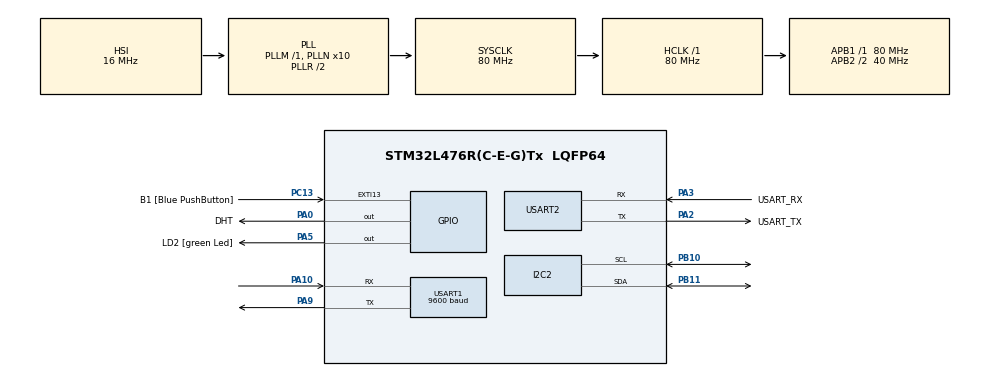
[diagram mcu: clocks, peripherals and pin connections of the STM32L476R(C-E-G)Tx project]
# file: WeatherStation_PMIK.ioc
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Mcu.Family=STM32L4
PA2.GPIO_PuPd=GPIO_NOPULL
RCC.CortexFreq_Value=80000000
PB10.Mode=I2C
PH0-OSC_IN\ (PH0).Signal=RCC_OSC_IN
USART1.BaudRate=9600
PA3.GPIO_PuPd=GPIO_NOPULL
I2C2.Timing=0x10909CEC
PA0.GPIO_Label=DHT
PA2.GPIO_Speed=GPIO_SPEED_FREQ_VERY_HIGH
PC15-OSC32_OUT\ (PC15).Mode=LSE-External-Oscillator
PC13.GPIO_Label=B1 [Blue PushButton]
PA3.GPIO_Speed=GPIO_SPEED_FREQ_VERY_HIGH
PB11.Signal=I2C2_SDA
RCC.SYSCLKSource=RCC_SYSCLKSOURCE_PLLCLK
ProjectManager.StackSize=0x400
PB3\ (JTDO-TRACESWO).Signal=SYS_JTDO-SWO
PC14-OSC32_IN\ (PC14).Mode=LSE-External-Oscillator
PA14\ (JTCK-SWCLK).Signal=SYS_JTCK-SWCLK
RCC.HCLKFreq_Value=80000000
RCC.APB2TimFreq_Value=80000000
RCC.AHBFreq_Value=80000000
RCC.PREFETCH_ENABLE=1
NVIC.EXTI15_10_IRQn=true\:0\:0\:false\:false\:true\:true\:true
RCC.HSE_VALUE=8000000
USART2.VirtualMode-Asynchronous=VM_ASYNC
PA5.GPIO_PuPd=GPIO_NOPULL
PC13.GPIO_PuPd=GPIO_NOPULL
PA0.Signal=GPIO_Output
Mcu.Package=LQFP64
PA2.GPIO_Label=USART_TX
PA10.Signal=USART1_RX
RCC.APB2CLKDivider=RCC_HCLK_DIV2
RCC.APB1TimFreq_Value=80000000
TIM16.Prescaler=7999
PA13\ (JTMS-SWDIO).Signal=SYS_JTMS-SWDIO
NVIC.USART1_IRQn=true\:0\:0\:false\:false\:true\:true\:true
PA0.GPIO_ModeDefaultOutputPP=GPIO_MODE_OUTPUT_PP
PA3.Signal=USART2_RX
PA2.GPIO_Mode=GPIO_MODE_AF_PP
RCC.MSI_VALUE=4000000
RCC.PLLSourceVirtual=RCC_PLLSOURCE_HSI
PA14\ (JTCK-SWCLK).Mode=Serial_Wire
PA10.Mode=Asynchronous
PC13.Signal=GPXTI13
PC15-OSC32_OUT\ (PC15).Signal=RCC_OSC32_OUT
VP_TIM16_VS_ClockSourceINT.Mode=Enable_Timer
PA14\ (JTCK-SWCLK).GPIO_Label=TCK
PB3\ (JTDO-TRACESWO).GPIO_Label=SWO
PH1-OSC_OUT\ (PH1).Signal=RCC_OSC_OUT
USART1.VirtualMode-Asynchronous=VM_ASYNC
PA3.Mode=Asynchronous
PA9.Mode=Asynchronous
PB11.Mode=I2C
ProjectManager.TargetToolchain=STM32CubeIDE
PA3.GPIO_Mode=GPIO_MODE_AF_PP
PA9.Signal=USART1_TX
RCC.USBFreq_Value=64000000
PB10.Signal=I2C2_SCL
PA5.Signal=GPIO_Output
board=NUCLEO-L476RG
RCC.VCOOutputFreq_Value=160000000
TIM16.Period=39999
RCC.APB2Freq_Value=40000000
TIM16.ClockDivision=TIM_CLOCKDIVISION_DIV4
PA5.GPIO_ModeDefaultOutputPP=GPIO_MODE_OUTPUT_PP
PA13\ (JTMS-SWDIO).GPIO_Label=TMS
RCC.ADCFreq_Value=64000000
Mcu.Name=STM32L476R(C-E-G)Tx
PA2.Signal=USART2_TX
PA13\ (JTMS-SWDIO).Mode=Serial_Wire
RCC.SYSCLKFreq_VALUE=80000000
PA5.GPIO_Label=LD2 [green Led]
PC13.GPIO_ModeDefaultEXTI=GPIO_MODE_IT_FALLING
PC14-OSC32_IN\ (PC14).Signal=RCC_OSC32_IN
ProjectManager.HeapSize=0x200
RCC.HSI_VALUE=16000000
NVIC.TIM1_UP_TIM16_IRQn=true\:0\:0\:false\:false\:true\:true\:true
PA5.GPIO_Speed=GPIO_SPEED_FREQ_LOW
NVIC.PriorityGroup=NVIC_PRIORITYGROUP_4
RCC.PLLN=10
PA2.Mode=Asynchronous
RCC.APB1Freq_Value=80000000
PA3.GPIO_Label=USART_RX

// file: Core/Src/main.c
/* USER CODE BEGIN Header */
/**
  ******************************************************************************
  * @file            main.c
  * @brief           Main program body
  ******************************************************************************
  * @attention
  *
  * <h2><center>&copy; Copyright (c) 2021 STMicroelectronics.
  * All rights reserved.</center></h2>
  *
  * This software component is licensed by ST under BSD 3-Clause license,
  * the "License"; You may not use this file except in compliance with the
  * License. You may obtain a copy of the License at:
  *                        opensource.org/licenses/BSD-3-Clause
  *
  ******************************************************************************
  */
/* USER CODE END Header */
#include "main.h"
#include "i2c.h"
#include "tim.h"
#include "usart.h"
#include "gpio.h"

/* USER CODE BEGIN Includes */
#include "sensors.h"
#include "DHT.h"
#include "stm32l4xx.h"
#include "bmp180.h"
#include "lcd_i2c.h"
#include <stdbool.h>
#include <stdio.h>
#include "Bluetooth.h"
#include "DispParam.h"
/* USER CODE END Includes */

/* USER CODE BEGIN PV */

DHT_DataTypedef DHT_Data;	// Struktura przechowująca dane z czujnika DHT
double pressure;			// Zmienna przechowująca zmierzone ciśnienie
struct lcd_disp disp;		// Struktura przechowująca dane konfiguracyjne wyświetlacza
/* USER CODE END PV */

void SystemClock_Config(void);
/* USER CODE BEGIN PFP */
void HAL_TIM_PeriodElapsedCallback(TIM_HandleTypeDef *htim);

int ReadDataFlag = 0; 	// Flaga służąca do pobrania danych z czujnika BMP i wyświetlenia danych na LCD
						// w momencie obsługi przerwania timera16 i pobrania danych z czujnika DHT

int ButtonFlag = 0;		// Flaga wywołująca przełączenie wyświetlanej informacji pogodowej po wciśnięciu przycisku

int SendDataFlag = 0;	// Flaga wywołująca wysłanie danych przez BT

int position = 0;		// Licznik od 0 do 2 służący do zmiany wyświetlanej inforamcji

uint8_t znak1;			// Bufor przechowujący wysłany znak przez użytkownika do urządzenia poprzez BT

/* USER CODE END PFP */

/* USER CODE BEGIN 0 */

weather_parameters Weather_param; // Struktura, w której przechowywane zmierzone wartości

/* USER CODE END 0 */

int main(void)
{

  /* MCU Configuration--------------------------------------------------------*/

  /* Reset of all peripherals, Initializes the Flash interface and the Systick. */
  HAL_Init();

  /* Configure the system clock */
  SystemClock_Config();

  /* Initialize all configured peripherals */
  MX_GPIO_Init();
  MX_USART2_UART_Init();
  MX_I2C2_Init();
  MX_TIM16_Init();
  MX_USART1_UART_Init();

  /* USER CODE BEGIN 2 */

   HAL_UART_Receive_IT(&huart1, &znak1, 1);  //inicjalzizacja uartu pod BT

   disp.addr = (0x3F << 1); // Podanie adresu wyświetlacza LCD na szynie I2C
   disp.bl = true;			// Włączenie podświetlenia wyświetlacza

   bmp_state bmp = bmp_init(&hi2c2); // Inicjalizacja czujnika BMP

   bmp_read_compensation_data(&bmp);	// Odczyt nieskompensowanych danych z BMP

   HAL_TIM_Base_Start_IT(&htim16); // Start Timera

  /* USER CODE END 2 */

  /* Infinite loop */
  /* USER CODE BEGIN WHILE */
  while (1)
  {
	  if(ReadDataFlag==1 || ButtonFlag==1){
		  bmp_read_temp_and_pressure(&bmp);
		  Weather_param.pressure = bmp_get_pressure(&bmp);
		  ReadDataFlag=0;
		  ButtonFlag=0;
		  RunDisp(&disp, &Weather_param, position);

	  }
	  if(SendDataFlag)
	  {
		  SendDataFlag=0;
		  SendDataBT(&Weather_param, &huart1); // Wysłanie danych przez BT

	  }

    /* USER CODE END WHILE */

  }
}

void SystemClock_Config(void)
{
  RCC_OscInitTypeDef RCC_OscInitStruct = {0};
  RCC_ClkInitTypeDef RCC_ClkInitStruct = {0};
  RCC_PeriphCLKInitTypeDef PeriphClkInit = {0};

  /** Initializes the RCC Oscillators according to the specified parameters
  * in the RCC_OscInitTypeDef structure.
  */
  RCC_OscInitStruct.OscillatorType = RCC_OSCILLATORTYPE_HSI;
  RCC_OscInitStruct.HSIState = RCC_HSI_ON;
  RCC_OscInitStruct.HSICalibrationValue = RCC_HSICALIBRATION_DEFAULT;
  RCC_OscInitStruct.PLL.PLLState = RCC_PLL_ON;
  RCC_OscInitStruct.PLL.PLLSource = RCC_PLLSOURCE_HSI;
  RCC_OscInitStruct.PLL.PLLM = 1;
  RCC_OscInitStruct.PLL.PLLN = 10;
  RCC_OscInitStruct.PLL.PLLP = RCC_PLLP_DIV7;
  RCC_OscInitStruct.PLL.PLLQ = RCC_PLLQ_DIV2;
  RCC_OscInitStruct.PLL.PLLR = RCC_PLLR_DIV2;
  if (HAL_RCC_OscConfig(&RCC_OscInitStruct) != HAL_OK)
  {
    Error_Handler();
  }
  /** Initializes the CPU, AHB and APB buses clocks
  */
  RCC_ClkInitStruct.ClockType = RCC_CLOCKTYPE_HCLK|RCC_CLOCKTYPE_SYSCLK
                              |RCC_CLOCKTYPE_PCLK1|RCC_CLOCKTYPE_PCLK2;
  RCC_ClkInitStruct.SYSCLKSource = RCC_SYSCLKSOURCE_PLLCLK;
  RCC_ClkInitStruct.AHBCLKDivider = RCC_SYSCLK_DIV1;
  RCC_ClkInitStruct.APB1CLKDivider = RCC_HCLK_DIV1;
  RCC_ClkInitStruct.APB2CLKDivider = RCC_HCLK_DIV2;

  if (HAL_RCC_ClockConfig(&RCC_ClkInitStruct, FLASH_LATENCY_4) != HAL_OK)
  {
    Error_Handler();
  }
  PeriphClkInit.PeriphClockSelection = RCC_PERIPHCLK_USART1|RCC_PERIPHCLK_USART2
                              |RCC_PERIPHCLK_I2C2;
  PeriphClkInit.Usart1ClockSelection = RCC_USART1CLKSOURCE_PCLK2;
  PeriphClkInit.Usart2ClockSelection = RCC_USART2CLKSOURCE_PCLK1;
  PeriphClkInit.I2c2ClockSelection = RCC_I2C2CLKSOURCE_PCLK1;
  if (HAL_RCCEx_PeriphCLKConfig(&PeriphClkInit) != HAL_OK)
  {
    Error_Handler();
  }
  /** Configure the main internal regulator output voltage
  */
  if (HAL_PWREx_ControlVoltageScaling(PWR_REGULATOR_VOLTAGE_SCALE1) != HAL_OK)
  {
    Error_Handler();
  }
}

/* USER CODE BEGIN 4 */

//Calback obsługi przerwania przycisku
void HAL_GPIO_EXTI_Callback(uint16_t GPIO_Pin)
{
	if(GPIO_Pin == B1_Pin)
	{
		if(position == 2)
		{
			position = 0;
		}
		else
		{
			position++;

		}
		ButtonFlag=1;
	}
}

// przerwanie od BT (wywołuje się przy odebraniu znaku)
void HAL_UART_RxCpltCallback(UART_HandleTypeDef *huart) {
	if (huart->Instance == USART1) {

		if(znak1=='s') // Jeśli wysłane s do urządzenia, to przesyłane są zmierzone dane
		{

			SendDataFlag = 1;

		}

		HAL_UART_Receive_IT(&huart1, &znak1, 1); // "nasłuchiwanie" kolejnego znaku

	}
}
// Callback do obsługi timera (wywołuje się co określony czas)
void HAL_TIM_PeriodElapsedCallback(TIM_HandleTypeDef *htim)
{

	if(htim->Instance == TIM16)
	{
		if(!ReadDataFlag)
		{
			ReadDataFlag=1;
		}
		else ReadDataFlag=0;
		DHT_GetData(&DHT_Data); // Pobranie danych z czujnika DHT
		Weather_param.temperature=DHT_Data.Temperature;
		Weather_param.humidity=DHT_Data.Humidity;

	}

}

/* USER CODE END 4 */

void Error_Handler(void)
{
  __disable_irq();
  while (1)
  {
  }
}

/************************ (C) COPYRIGHT STMicroelectronics *****END OF FILE****/
